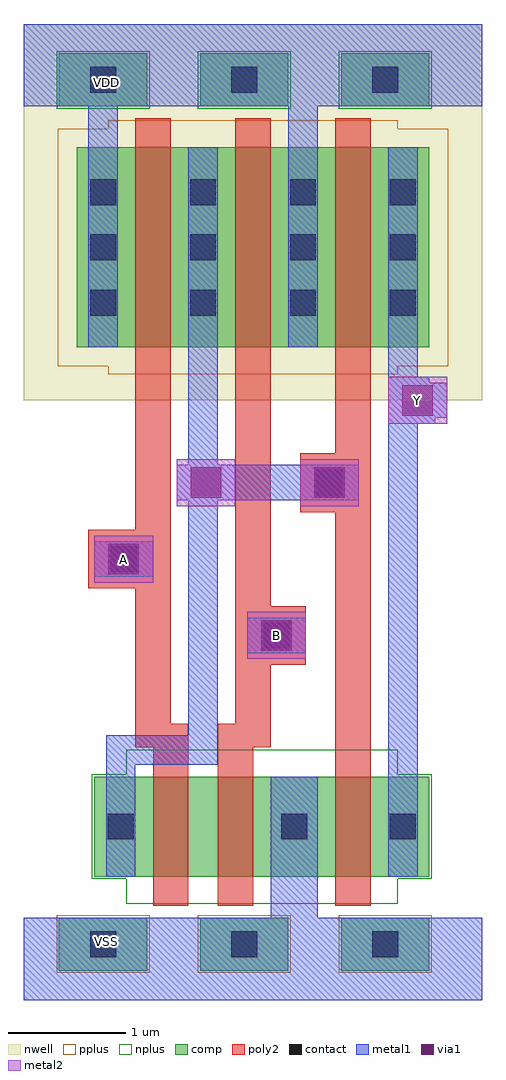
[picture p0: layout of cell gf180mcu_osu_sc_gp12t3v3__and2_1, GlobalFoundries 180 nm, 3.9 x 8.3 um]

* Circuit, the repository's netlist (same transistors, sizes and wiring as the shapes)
* Copyright 2022 Google LLC
*
* Licensed under the Apache License, Version 2.0 (the "License");
* you may not use this file except in compliance with the License.
* You may obtain a copy of the License at
*
*      http://www.apache.org/licenses/LICENSE-2.0
*
* Unless required by applicable law or agreed to in writing, software
* distributed under the License is distributed on an "AS IS" BASIS,
* WITHOUT WARRANTIES OR CONDITIONS OF ANY KIND, either express or implied.
* See the License for the specific language governing permissions and
* limitations under the License.

* NGSPICE file created from gf180mcu_osu_sc_gp12t3v3__and2_1.ext - technology: gf180mcuC

.subckt gf180mcu_osu_sc_gp12t3v3__and2_1 A B Y VDD VSS
X0 Y a_12_21# VDD VDD pfet_03p3 w=1.7u l=0.3u
X1 VDD B a_12_21# VDD pfet_03p3 w=1.7u l=0.3u
X2 a_12_21# A VDD VDD pfet_03p3 w=1.7u l=0.3u
X3 Y a_12_21# VSS VSS nfet_03p3 w=0.85u l=0.3u
X4 a_28_21# A a_12_21# VSS nfet_03p3 w=0.85u l=0.3u
X5 VSS B a_28_21# VSS nfet_03p3 w=0.85u l=0.3u
.ends

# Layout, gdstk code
import gdstk
lib = gdstk.Library(unit=1e-6, precision=1e-09)
def R(c, l, rs):  # rectangles x0, y0, x1, y1
    for r in rs: c.add(gdstk.rectangle(r[:2], r[2:], *l))
def A(c, l, x, y, w, h, nx, ny, dx, dy):  # array of equal rectangles
    R(c, l, [(x+i*dx, y+j*dy, x+i*dx+w, y+j*dy+h) for i in range(nx) for j in range(ny)])
nwell = (21, 0)
comp = (22, 0)
poly2 = (30, 0)
pplus = (31, 0)
nplus = (32, 0)
contact = (33, 0)
metal1 = (34, 0)
via1 = (35, 0)
metal2 = (36, 0)

gf180mcu_osu_sc_gp12t3v3 = lib.new_cell('gf180mcu_osu_sc_gp12t3v3__and2_1')
R(gf180mcu_osu_sc_gp12t3v3, nwell, [(0,5.1,3.9,8.3)])
A(gf180mcu_osu_sc_gp12t3v3, comp, 0.3, 0.25, 0.75, 0.45, 3, 2, 1.2, 7.35)
R(gf180mcu_osu_sc_gp12t3v3, comp, [(0.6,1.05,3.45,1.9), (0.45,5.55,3.45,7.25)])
R(gf180mcu_osu_sc_gp12t3v3, poly2, [(1.1,0.8,1.4,2.15), (1.65,0.8,1.95,2.15), (2.65,0.8,2.95,4.15), (0.95,2.15,1.4,2.35), (1.65,2.15,2.1,2.35), (0.95,2.35,1.25,3.5), (1.8,2.35,2.1,2.85), (1.8,2.85,2.4,3.35), (1.8,3.35,2.1,7.5), (0.55,3.5,1.25,4), (0.95,4,1.25,7.5), (2.35,4.15,2.95,4.65), (2.65,4.65,2.95,7.5)])
A(gf180mcu_osu_sc_gp12t3v3, pplus, 0.28, 0.23, 0.79, 0.49, 3, 1, 1.2, 0)
R(gf180mcu_osu_sc_gp12t3v3, pplus, [(0.72,5.32,3.18,5.39), (0.29,5.39,3.61,7.41), (0.72,7.41,3.18,7.48)])
A(gf180mcu_osu_sc_gp12t3v3, nplus, 0.28, 7.58, 0.79, 0.49, 3, 1, 1.2, 0)
R(gf180mcu_osu_sc_gp12t3v3, nplus, [(0.87,0.82,3.18,1.03), (0.58,1.03,3.47,1.92), (0.87,1.92,3.18,2.13)])
A(gf180mcu_osu_sc_gp12t3v3, contact, 0.565, 0.365, 0.22, 0.22, 3, 2, 1.2, 7.35)
A(gf180mcu_osu_sc_gp12t3v3, contact, 0.565, 5.82, 0.22, 0.22, 4, 3, 0.85, 0.47)
R(gf180mcu_osu_sc_gp12t3v3, contact, [(0.715,1.365,0.935,1.585), (2.19,1.365,2.41,1.585), (3.115,1.365,3.335,1.585), (2.04,2.99,2.26,3.21), (0.74,3.64,0.96,3.86), (2.49,4.29,2.71,4.51)])
R(gf180mcu_osu_sc_gp12t3v3, metal1, [(0,0,3.9,0.7), (2.1,0.7,2.5,1.9), (0.7,1.05,0.95,2), (3.1,1.05,3.35,4.9), (0.7,2,1.65,2.25), (1.4,2.25,1.65,4.25), (1.9,2.95,2.4,3.25), (0.6,3.6,1.1,3.9), (1.3,4.25,2.85,4.55), (1.4,4.55,1.65,7.25), (3.1,4.9,3.5,4.95), (3.1,4.95,3.6,5.25), (3.1,5.25,3.45,5.3), (3.1,5.3,3.35,7.25), (0.55,5.55,0.8,7.6), (2.25,5.55,2.5,7.6), (0,7.6,3.9,8.3)])
R(gf180mcu_osu_sc_gp12t3v3, via1, [(2.02,2.97,2.28,3.23), (0.72,3.62,0.98,3.88), (1.42,4.27,1.68,4.53), (2.47,4.27,2.73,4.53), (3.22,4.97,3.48,5.23)])
R(gf180mcu_osu_sc_gp12t3v3, metal2, [(1.9,2.9,2.4,3.3), (0.6,3.55,1.1,3.95), (1.3,4.2,1.8,4.6), (2.35,4.2,2.85,4.6), (3.1,4.9,3.6,5.3)])
gf180mcu_osu_sc_gp12t3v3.add(gdstk.Label('A', (0.85,3.75), layer=36, texttype=10))
gf180mcu_osu_sc_gp12t3v3.add(gdstk.Label('B', (2.15,3.1), layer=36, texttype=10))
gf180mcu_osu_sc_gp12t3v3.add(gdstk.Label('Y', (3.35,5.1), layer=36, texttype=10))
gf180mcu_osu_sc_gp12t3v3.add(gdstk.Label('VDD', (0.7,7.8), layer=34, texttype=10))
gf180mcu_osu_sc_gp12t3v3.add(gdstk.Label('VSS', (0.7,0.5), layer=34, texttype=10))

lib.write_gds('gf180mcu_osu_sc_gp12t3v3__and2_1.gds')
